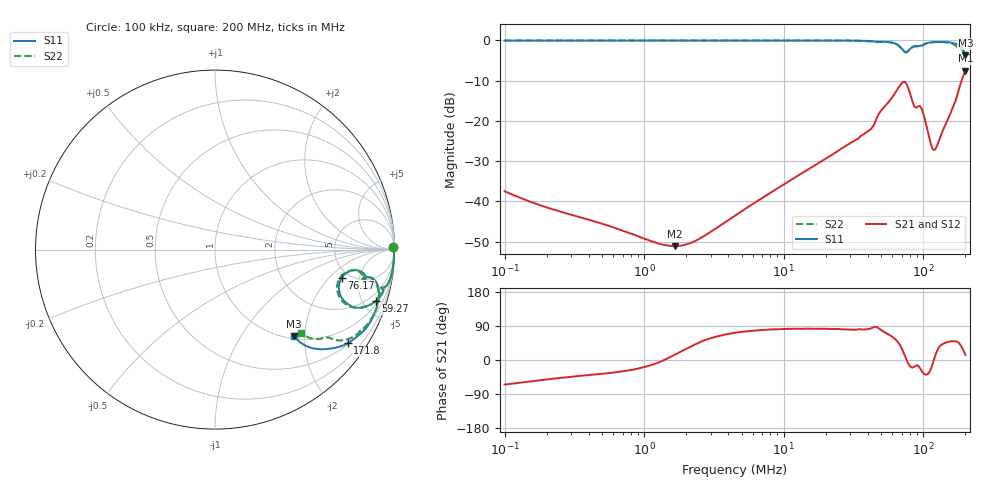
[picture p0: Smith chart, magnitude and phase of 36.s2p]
#  HZ  S  RI  R  50.00
! Rohde & Schwarz Vector Network Analyzer
! Rohde-Schwarz,ZNLE6-2Port,1323001256200024,1.71.1.10-23.02.1.238
! Created: UTC 4/7/2025, 4:30:29 AM
! freq[Hz]  re:S11  im:S11  re:S21  im:S21  re:S12  im:S12  re:S22  im:S22
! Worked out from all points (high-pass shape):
!   1001 points, 100 kHz to 200 MHz, reference 50 ohm
!   highest |S21| = -7.54 dB at 200 MHz (marker M1); lowest = -51.1 dB at 1.665 MHz (marker M2)
!   |S21| within 3 dB of the highest: 70.4 MHz to 74.73 MHz (4.326 MHz wide, 5.96 % of centre); 185.5 MHz to end of sweep
!   lowest |S11| = -3.7 dB at 200 MHz (marker M3), VSWR 4.78, Z = 52.4 - j88.5 ohm
!   |S11| at or under -10 dB: nowhere
!   |S22| runs from -3.5 to 0.0 dB; largest |S21 - S12| = 0.01
!   S11 on the Smith chart (normalised r, x): 100 kHz: open; 59.27 MHz: 1.23, -6.17; 76.17 MHz: 4.27, -2.83; 171.8 MHz: 0.53, -3.06; 200 MHz: 1.05, -1.77
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100000  0.9945 0.0119  0.00569 -0.0121  0.0057 -0.0122  0.9945 0.0119
355854.1  0.9952 0.00322  0.00471 -0.00415  0.00471 -0.00416  0.9954 0.00319
1266322  0.997 -0.00282  0.00298 -0.000334  0.00299 -0.000334  0.997 -0.00308
1664873  0.9972 -0.00486  0.0027 0.00067  0.0027 0.000677  0.9972 -0.00512
2397897  0.9976 -0.00827  0.0024 0.00228  0.0024 0.00229  0.9975 -0.00859
4472136  0.9977 -0.018  0.00208 0.00632  0.00214 0.00629  0.9982 -0.018
1.591428e7  0.9953 -0.0666  0.00349 0.0265  0.00373 0.0264  0.9955 -0.0696
4.146835e7  0.9625 -0.1934  0.0101 0.0769  0.0117 0.0762  0.9542 -0.2023
5.663162e7  0.9147 -0.2686  0.068 0.1591  0.0717 0.1566  0.9103 -0.2685
5.927413e7  0.8964 -0.2868  0.0897 0.17  0.0909 0.1687  0.8909 -0.2893
6.796475e7  0.7727 -0.32  0.2131 0.1746  0.2201 0.167  0.7658 -0.3212
7.222574e7  0.6991 -0.2552  0.2883 0.1007  0.2905 0.0934  0.69 -0.2571
7.617267e7  0.7054 -0.1581  0.2819 -0.00878  0.2819 -0.016  0.6955 -0.1581
8.602321e7  0.8358 -0.1434  0.1458 -0.047  0.1449 -0.0513  0.8255 -0.1473
9.788884e7  0.8596 -0.153  0.118 -0.0699  0.1168 -0.0732  0.8486 -0.1513
1.130974e8  0.914 -0.2365  0.0474 -0.0208  0.0471 -0.0217  0.9117 -0.2416
1.192779e8  0.9119 -0.2733  0.0435 0.00136  0.0436 0.000611  0.9104 -0.2812
1.257961e8  0.9052 -0.3085  0.0453 0.0213  0.0456 0.0203  0.9021 -0.319
1.464495e8  0.8592 -0.4126  0.066 0.0699  0.0663 0.0681  0.8428 -0.4238
1.717946e8  0.7386 -0.5221  0.1238 0.1415  0.1278 0.1357  0.6802 -0.5051
1.853616e8  0.6247 -0.554  0.233 0.182  0.2381 0.1729  0.6107 -0.4922
2e8  0.4411 -0.4831  0.4079 0.0982  0.4108 0.0897  0.4801 -0.4662
